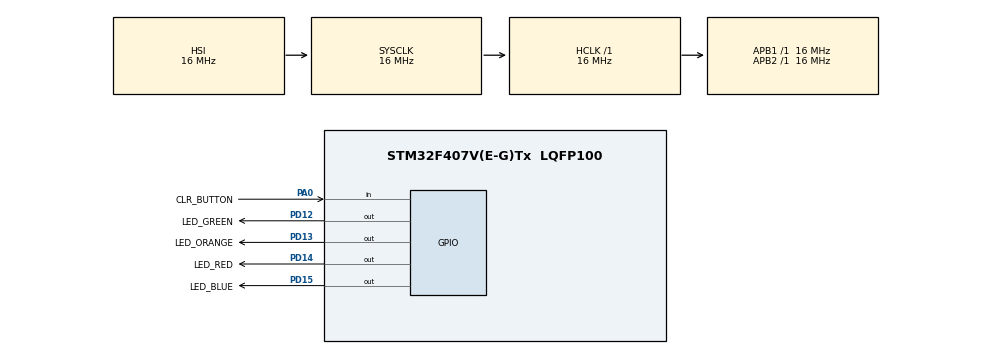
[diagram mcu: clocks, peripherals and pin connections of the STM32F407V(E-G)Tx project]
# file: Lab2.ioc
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Mcu.Family=STM32F4
Mcu.Name=STM32F407V(E-G)Tx
Mcu.Package=LQFP100
NVIC.PriorityGroup=NVIC_PRIORITYGROUP_4
PA0-WKUP.GPIO_Label=CLR_BUTTON
PA0-WKUP.Signal=GPIO_Input
PD12.GPIO_Label=LED_GREEN
PD12.Signal=GPIO_Output
PD13.GPIO_Label=LED_ORANGE
PD13.Signal=GPIO_Output
PD14.GPIO_Label=LED_RED
PD14.Signal=GPIO_Output
PD15.GPIO_Label=LED_BLUE
PD15.Signal=GPIO_Output
ProjectManager.HeapSize=0x200
ProjectManager.StackSize=0x400
ProjectManager.TargetToolchain=STM32CubeIDE
RCC.AHBFreq_Value=16000000
RCC.APB1Freq_Value=16000000
RCC.APB2Freq_Value=16000000
RCC.CortexFreq_Value=16000000
RCC.HSE_VALUE=25000000
RCC.HSI_VALUE=16000000
RCC.LSE_VALUE=32768
RCC.SYSCLKFreq_VALUE=16000000
RCC.VCOOutputFreq_Value=192000000
board=custom

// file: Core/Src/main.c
/* USER CODE BEGIN Header */
/**
  ******************************************************************************
  * @file           : main.c
  * @brief          : Main program body
  ******************************************************************************
  * @attention
  *
  * Copyright (c) 2024 STMicroelectronics.
  * All rights reserved.
  *
  * This software is licensed under terms that can be found in the LICENSE file
  * in the root directory of this software component.
  * If no LICENSE file comes with this software, it is provided AS-IS.
  *
  ******************************************************************************
  */
/* USER CODE END Header */
#include "main.h"

/* USER CODE BEGIN PV */
unsigned int ledMode = 0;
/* USER CODE END PV */

void SystemClock_Config(void);
static void MX_GPIO_Init(void);

int main(void)
{

  /* MCU Configuration--------------------------------------------------------*/

  /* Reset of all peripherals, Initializes the Flash interface and the Systick. */
  HAL_Init();

  /* Configure the system clock */
  SystemClock_Config();

  /* Initialize all configured peripherals */
  MX_GPIO_Init();

  /* Infinite loop */
  /* USER CODE BEGIN WHILE */
  while (1)
  {

	  if (ledMode == 0) {
		  HAL_GPIO_WritePin(GPIOD, LED_RED_Pin, GPIO_PIN_SET);
		  HAL_Delay(100);
		  HAL_GPIO_WritePin(GPIOD, LED_RED_Pin, GPIO_PIN_RESET);
		  HAL_Delay(100);

    	  HAL_GPIO_WritePin(GPIOD, LED_GREEN_Pin, GPIO_PIN_SET);
	  	  HAL_Delay(100);
	  	  HAL_GPIO_WritePin(GPIOD, LED_GREEN_Pin, GPIO_PIN_RESET);
	  	  HAL_Delay(100);

	  	  HAL_GPIO_WritePin(GPIOD, LED_ORANGE_Pin, GPIO_PIN_SET);
	  	  HAL_Delay(100);
	  	  HAL_GPIO_WritePin(GPIOD, LED_ORANGE_Pin, GPIO_PIN_RESET);
	  	  HAL_Delay(100);

	  	  HAL_GPIO_WritePin(GPIOD, LED_BLUE_Pin, GPIO_PIN_SET);
	  	  HAL_Delay(100);
	  	  HAL_GPIO_WritePin(GPIOD, LED_BLUE_Pin, GPIO_PIN_RESET);
	  	  HAL_Delay(100);
	  }

	  if (ledMode == 1) {
		  HAL_GPIO_WritePin(GPIOD, LED_GREEN_Pin, GPIO_PIN_SET);
		  HAL_Delay(500);
		  HAL_GPIO_WritePin(GPIOD, LED_GREEN_Pin, GPIO_PIN_RESET);
		  HAL_Delay(500);

		  HAL_GPIO_WritePin(GPIOD, LED_ORANGE_Pin, GPIO_PIN_SET);
		  HAL_Delay(100);
		  HAL_GPIO_WritePin(GPIOD, LED_ORANGE_Pin, GPIO_PIN_RESET);
		  HAL_Delay(100);

		  HAL_GPIO_WritePin(GPIOD, LED_RED_Pin, GPIO_PIN_SET);
		  HAL_Delay(100);
		  HAL_GPIO_WritePin(GPIOD, LED_RED_Pin, GPIO_PIN_RESET);
		  HAL_Delay(100);

		  HAL_GPIO_WritePin(GPIOD, LED_BLUE_Pin, GPIO_PIN_SET);
		  HAL_Delay(100);
		  HAL_GPIO_WritePin(GPIOD, LED_BLUE_Pin, GPIO_PIN_RESET);
		  HAL_Delay(100);
	  }

	  if (ledMode == 2) {
		  HAL_GPIO_WritePin(GPIOD, LED_GREEN_Pin, GPIO_PIN_SET);
		  HAL_GPIO_WritePin(GPIOD, LED_RED_Pin, GPIO_PIN_SET);
		  HAL_Delay(200);

		  HAL_GPIO_WritePin(GPIOD, LED_GREEN_Pin, GPIO_PIN_RESET);
		  HAL_GPIO_WritePin(GPIOD, LED_RED_Pin, GPIO_PIN_RESET);
		  HAL_Delay(200);

		  HAL_GPIO_WritePin(GPIOD, LED_ORANGE_Pin, GPIO_PIN_SET);
		  HAL_GPIO_WritePin(GPIOD, LED_BLUE_Pin, GPIO_PIN_SET);
		  HAL_Delay(200);

		  HAL_GPIO_WritePin(GPIOD, LED_ORANGE_Pin, GPIO_PIN_RESET);
		  HAL_GPIO_WritePin(GPIOD, LED_BLUE_Pin, GPIO_PIN_RESET);
		  HAL_Delay(200);
	  }

	  if (ledMode == 3) {
		  HAL_GPIO_WritePin(GPIOD, LED_GREEN_Pin, GPIO_PIN_SET);
		  HAL_GPIO_WritePin(GPIOD, LED_ORANGE_Pin, GPIO_PIN_SET);
		  HAL_GPIO_WritePin(GPIOD, LED_RED_Pin, GPIO_PIN_SET);
		  HAL_GPIO_WritePin(GPIOD, LED_BLUE_Pin, GPIO_PIN_SET);
		  HAL_Delay(1000);

		  HAL_GPIO_WritePin(GPIOD, LED_GREEN_Pin, GPIO_PIN_RESET);
		  HAL_GPIO_WritePin(GPIOD, LED_ORANGE_Pin, GPIO_PIN_RESET);
		  HAL_GPIO_WritePin(GPIOD, LED_RED_Pin, GPIO_PIN_RESET);
		  HAL_GPIO_WritePin(GPIOD, LED_BLUE_Pin, GPIO_PIN_RESET);
		  HAL_Delay(1000);
	  }
    /* USER CODE END WHILE */

  }
}

void SystemClock_Config(void)
{
  RCC_OscInitTypeDef RCC_OscInitStruct = {0};
  RCC_ClkInitTypeDef RCC_ClkInitStruct = {0};

  /** Configure the main internal regulator output voltage
  */
  __HAL_RCC_PWR_CLK_ENABLE();
  __HAL_PWR_VOLTAGESCALING_CONFIG(PWR_REGULATOR_VOLTAGE_SCALE1);

  /** Initializes the RCC Oscillators according to the specified parameters
  * in the RCC_OscInitTypeDef structure.
  */
  RCC_OscInitStruct.OscillatorType = RCC_OSCILLATORTYPE_HSI;
  RCC_OscInitStruct.HSIState = RCC_HSI_ON;
  RCC_OscInitStruct.HSICalibrationValue = RCC_HSICALIBRATION_DEFAULT;
  RCC_OscInitStruct.PLL.PLLState = RCC_PLL_NONE;
  if (HAL_RCC_OscConfig(&RCC_OscInitStruct) != HAL_OK)
  {
    Error_Handler();
  }

  /** Initializes the CPU, AHB and APB buses clocks
  */
  RCC_ClkInitStruct.ClockType = RCC_CLOCKTYPE_HCLK|RCC_CLOCKTYPE_SYSCLK
                              |RCC_CLOCKTYPE_PCLK1|RCC_CLOCKTYPE_PCLK2;
  RCC_ClkInitStruct.SYSCLKSource = RCC_SYSCLKSOURCE_HSI;
  RCC_ClkInitStruct.AHBCLKDivider = RCC_SYSCLK_DIV1;
  RCC_ClkInitStruct.APB1CLKDivider = RCC_HCLK_DIV1;
  RCC_ClkInitStruct.APB2CLKDivider = RCC_HCLK_DIV1;

  if (HAL_RCC_ClockConfig(&RCC_ClkInitStruct, FLASH_LATENCY_0) != HAL_OK)
  {
    Error_Handler();
  }
}

static void MX_GPIO_Init(void)
{
  GPIO_InitTypeDef GPIO_InitStruct = {0};

  /* GPIO Ports Clock Enable */
  __HAL_RCC_GPIOA_CLK_ENABLE();
  __HAL_RCC_GPIOD_CLK_ENABLE();

  /*Configure GPIO pin Output Level */
  HAL_GPIO_WritePin(GPIOD, LED_GREEN_Pin|LED_ORANGE_Pin|LED_RED_Pin|LED_BLUE_Pin, GPIO_PIN_RESET);

  /*Configure GPIO pin : PA0 */
  GPIO_InitStruct.Pin = GPIO_PIN_0;
  GPIO_InitStruct.Mode = GPIO_MODE_IT_RISING;
  GPIO_InitStruct.Pull = GPIO_NOPULL;
  HAL_GPIO_Init(GPIOA, &GPIO_InitStruct);

  /*Configure GPIO pins : LED_GREEN_Pin LED_ORANGE_Pin LED_RED_Pin LED_BLUE_Pin */
  GPIO_InitStruct.Pin = LED_GREEN_Pin|LED_ORANGE_Pin|LED_RED_Pin|LED_BLUE_Pin;
  GPIO_InitStruct.Mode = GPIO_MODE_OUTPUT_PP;
  GPIO_InitStruct.Pull = GPIO_NOPULL;
  GPIO_InitStruct.Speed = GPIO_SPEED_FREQ_LOW;
  HAL_GPIO_Init(GPIOD, &GPIO_InitStruct);

  /* EXTI interrupt init*/
  HAL_NVIC_SetPriority(EXTI0_IRQn, 0, 0);
  HAL_NVIC_EnableIRQ(EXTI0_IRQn);

}

void Error_Handler(void)
{
  __disable_irq();
  while (1)
  {
  }
}
